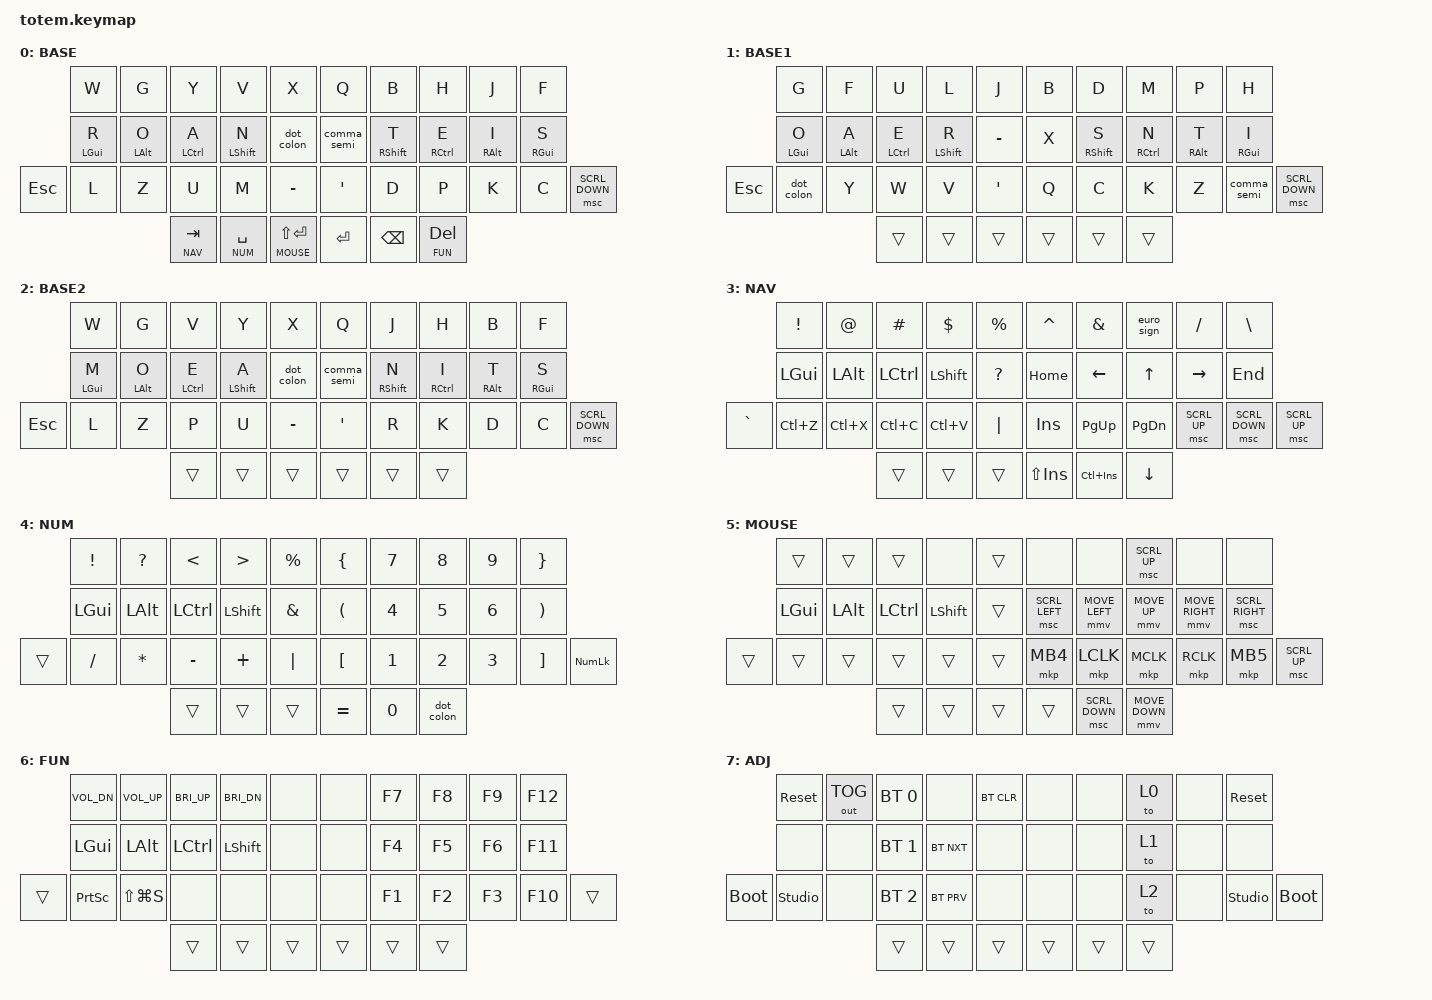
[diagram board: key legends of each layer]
//
//                                                        ▀▀▀▀▀     ▀▀▀▀▀          ▀▀█▀▀
//                                                        ▄▀▀▀▄  ▄  ▄▀▀▀▄  ▄  ▄▀▀▀▄  █  ▄▀▀▀▄
//                                                        █   █  █  █   █  █  █   █  █  █   █
//                                                         ▀▀▀   █   ▀▀▀   █   ▀▀▀   ▀   ▀▀▀
//                                                               █      ▄▄▄█▄▄▄    █   █  
//                                                               ▀      █  █  █     █▄█
//                                                             ▀▀▀▀▀    █  █  █      ▀
//                                                                      ▀  ▀  ▀
//
// ▄▄▄▄▄▄▄▄▄▄▄▄▄▄▄▄▄▄▄▄▄▄▄▄▄▄▄▄▄▄▄▄▄▄▄▄▄▄▄▄▄▄▄▄▄▄▄▄▄▄▄▄▄▄▄▄▄▄▄▄▄▄▄▄▄▄▄▄▄▄▄▄▄▄▄▄▄▄▄▄▄▄▄▄▄▄▄▄▄▄▄▄▄▄▄▄▄▄▄▄▄▄▄▄▄▄▄▄▄▄▄▄▄▄▄▄▄▄▄▄▄▄▄▄▄▄▄▄▄▄▄▄▄▄▄▄▄▄▄▄▄▄▄▄▄▄▄▄▄

#include <behaviors.dtsi>
#include <dt-bindings/zmk/bt.h>
#include <dt-bindings/zmk/keys.h>
#include <dt-bindings/zmk/outputs.h>
//#include <dt-bindings/zmk/mouse.h> // &mkp LCLK a &mkp RCLK
#include <dt-bindings/zmk/pointing.h>

#define BASE  0
#define BASE1 1
#define BASE2 2
#define NAV   3 // + SYMBOLS
#define NUM   4
#define MOUSE 5
#define FUN   6
#define ADJ   7

//&lt {
//    flavor = "balanced";
//    quick-tap-ms = <200>;
//};

&lt {
    flavor = "hold-preferred"; // 🚀 Okamžitá reakcia vrstvy bez čakania
    tapping-term-ms = <200>;   // Ak ho tam nemáš, doplň ho, nech to nie je lenivé
    quick-tap-ms = <175>;      // Jemne ostrejší double-tap repeat
};


//                                    ┏━━━━━━━━━━┓                                                                    ┏━━━━━━━━━━┓
//                         ┏━━━━━━━━━━┫     2    ┣━━━━━━━━━━┳━━━━━━━━━━┓                        ┏━━━━━━━━━━┳━━━━━━━━━━┫     7    ┣━━━━━━━━━━┓
//                         ┃     1    ┣━━━━━━━━━━┫     3    ┃     4    ┃                        ┃     5    ┃     6    ┣━━━━━━━━━━┫     8    ┃
//              ┏━━━━━━━━━━╋━━━━━━━━━━┫    12    ┣━━━━━━━━━━╋━━━━━━━━━━┫                        ┣━━━━━━━━━━╋━━━━━━━━━━┫    17    ┣━━━━━━━━━━╋━━━━━━━━━━┓
//              ┃     0    ┃    11    ┣━━━━━━━━━━┫    13    ┃    14    ┃                        ┃    15    ┃    16    ┣━━━━━━━━━━┫    18    ┃     9    ┃
//              ┣━━━━━━━━━━╋━━━━━━━━━━┫    23    ┣━━━━━━━━━━╋━━━━━━━━━━┫                        ┣━━━━━━━━━━╋━━━━━━━━━━┫    28    ┣━━━━━━━━━━╋━━━━━━━━━━┫
//   ┏━━━━━━━━━━┫    10    ┃    22    ┣━━━━━━━━━━┫    24    ┃    25    ┃                        ┃    26    ┃    27    ┣━━━━━━━━━━┫    29    ┃    19    ┣━━━━━━━━━━┓
//   ┃    20    ┣━━━━━━━━━━╋━━━━━━━━━━┛          ┣━━━━━━━━━━╋━━━━━━━━━━╋━━━━━━━━━━┓  ┏━━━━━━━━━━╋━━━━━━━━━━╋━━━━━━━━━━┫          ┗━━━━━━━━━━╋━━━━━━━━━━┫    31    ┃
//   ┗━━━━━━━━━━┃    21    ┃                     ┃    32    ┃    33    ┃    34    ┃  ┃    35    ┃    36    ┃    37    ┃                     ┃    30    ┣━━━━━━━━━━┛
//              ┗━━━━━━━━━━┛                     ┗━━━━━━━━━━┻━━━━━━━━━━┻━━━━━━━━━━┛  ┗━━━━━━━━━━┻━━━━━━━━━━┛━━━━━━━━━━┛                     ┗━━━━━━━━━━┛

/ {
    combos {
        compatible = "zmk,combos";

        combo_esc {
            bindings = <&kp ESCAPE>;
            key-positions = <0 1>;
            timeout-ms = <60>;
            require-prior-idle-ms = <120>;
        };

        enter_combo {
            bindings = <&kp ENTER>;
            key-positions = <16 17 18 19>;
            timeout-ms = <70>;
            require-prior-idle-ms = <100>;
        };

        shift_enter_combo {
            bindings = <&kp LS(ENTER)>;
            key-positions = <10 11 12 13>;
            timeout-ms = <70>;
            require-prior-idle-ms = <100>;
        };

        // 2, 3 -> Page Up
        combo_pgup {
            timeout-ms = <50>;
            key-positions = <2 3>;
            bindings = <&kp PG_UP>;
//            require-prior-idle-ms = <150>;
        };

        // 6, 7 -> Page Down
        combo_pgdn {
            timeout-ms = <50>;
            key-positions = <6 7>;
            bindings = <&kp PG_DN>;
//            require-prior-idle-ms = <150>;
        };

        // 21, 22 -> Scroll Left
        combo_scrl_left {
            timeout-ms = <50>;
            key-positions = <21 22>;
            bindings = <&msc SCRL_LEFT>;
//            require-prior-idle-ms = <150>;
        };

        // 23, 24 -> Scroll Up
        combo_scrl_up {
            timeout-ms = <50>;
            key-positions = <23 24>;
            bindings = <&msc SCRL_UP>;
//            require-prior-idle-ms = <150>;
        };

        // 27, 28 -> Scroll Down
        combo_scrl_down {
            timeout-ms = <50>;
            key-positions = <27 28>;
            bindings = <&msc SCRL_DOWN>;
//            require-prior-idle-ms = <150>;
        };

        // 29, 30 -> Scroll Right
        combo_scrl_right {
            timeout-ms = <50>;
            key-positions = <29 30>;
            bindings = <&msc SCRL_RIGHT>;
//            require-prior-idle-ms = <150>;
        };
    };

    macros {
        euro_sign: euro_sign {
            compatible = "zmk,behavior-macro";
            #binding-cells = <0>;
            bindings
                = <&macro_press &kp LALT>
                , <&kp KP_N0 &kp KP_N1 &kp KP_N2 &kp KP_N8>
                , <&macro_release &kp LALT>;
        };
    };

    behaviors {
        // , Shift -> ;
        comma_semi: comma_semi {
            compatible = "zmk,behavior-mod-morph";
//            label = "COMMA_SEMI";
            #binding-cells = <0>;
            bindings = <&kp COMMA>, <&kp SEMI>; // Normálne: čiarka, So Shiftom: bodkočiarka
            mods = <(MOD_LSFT|MOD_RSFT)>;       // Sleduj ľavý aj pravý Shift
        };

        // . Shift -> :
        dot_colon: dot_colon {
            compatible = "zmk,behavior-mod-morph";
//            label = "DOT_COLON";
            #binding-cells = <0>;
            bindings = <&kp DOT>, <&kp COLON>;  // Normálne: bodka, So Shiftom: dvojbodka
            mods = <(MOD_LSFT|MOD_RSFT)>;       // Sleduj ľavý aj pravý Shift
        };

//        // Pomocník: podržanie vs klepnutie pre .: ,;
//        p_ht: p_ht {
//            compatible = "zmk,behavior-hold-tap";
//            #binding-cells = <2>; // Presne toto kompilátor vyžaduje (2)
//            flavor = "tap-preferred";
//            tapping-term-ms = <200>;
//            bindings = <&kp>, <&kp>;
//        };
//
//        // . Shift -> : hold -> , hold Shift -> ;
//        dot_colon_comma_semi: dot_colon_comma_semi {
//            compatible = "zmk,behavior-mod-morph";
//            #binding-cells = <0>;
//            bindings = <&p_ht COMMA DOT>, <&p_ht SEMI COLON>;
//            mods = <(MOD_LSFT|MOD_RSFT)>;
//        };

//        // Space hold = Shift+Enter
//        sh_ret_spc: sh_ret_spc {
//            compatible = "zmk,behavior-hold-tap";
//            label = "SHIFT_ENTER_SPACE";
//            #binding-cells = <0>;
//            flavor = "balanced";
//            tapping-term-ms = <200>;
//            bindings = <&kp LS(RET)>, <&kp SPACE>;
//        };

        // ⚡ Pre Ľavý Ctrl a Ľavý Shift
        lcs: lcs {
//            label = "LEFT_CONTROL_SHIFT";
            compatible = "zmk,behavior-hold-tap";
            #binding-cells = <2>;
            flavor = "balanced";
            require-prior-idle-ms = <150>;
            tapping-term-ms = <280>;
            quick-tap-ms = <175>;
            bindings = <&kp>, <&kp>;
            hold-trigger-on-release;
            hold-trigger-key-positions = <5 6 7 8 9 15 16 17 18 19 26 27 28 29 30 31 35 36 37>; // Pravá strana Totemu
//            hold-while-undecided; // Blesková odozva pre myš, otestuj ci je to lepsie s alebo bez
        };

        // 🛡️ Pre Ľavý Alt a Ľavý Win
        law: law {
//            label = "LEFT_ALT_WIN";
            compatible = "zmk,behavior-hold-tap";
            #binding-cells = <2>;
            flavor = "balanced";
            require-prior-idle-ms = <150>;
            tapping-term-ms = <280>;
            quick-tap-ms = <175>;
            bindings = <&kp>, <&kp>;
            hold-trigger-on-release;
            hold-trigger-key-positions = <5 6 7 8 9 15 16 17 18 19 26 27 28 29 30 31 35 36 37>; // Pravá strana Totemu
        };

        // ⚡ Pre Pravý Ctrl a Pravý Shift
        rcs: rcs {
//            label = "RIGHT_CONTROL_SHIFT";
            compatible = "zmk,behavior-hold-tap";
            #binding-cells = <2>;
            flavor = "balanced";
            require-prior-idle-ms = <150>;
            tapping-term-ms = <280>;
            quick-tap-ms = <175>;
            bindings = <&kp>, <&kp>;
            hold-trigger-on-release;
            hold-trigger-key-positions = <0 1 2 3 4 10 11 12 13 14 20 21 22 23 24 25 32 33 34>; // Ľavá strana Totemu
//            hold-while-undecided; // Blesková odozva pre myš
        };

        // 🛡️ Pre Pravý Alt a Pravý Win
        raw: raw {
//            label = "RIGHT_ALT_WIN";
            compatible = "zmk,behavior-hold-tap";
            #binding-cells = <2>;
            flavor = "balanced";
            require-prior-idle-ms = <150>;
            tapping-term-ms = <280>;
            quick-tap-ms = <175>;
            bindings = <&kp>, <&kp>;
            hold-trigger-on-release;
            hold-trigger-key-positions = <0 1 2 3 4 10 11 12 13 14 20 21 22 23 24 25 32 33 34>; // Ľavá strana Totemu
        };

//        alt_tab_rev: alt_tab_rev {
//            compatible = "zmk,behavior-mod-morph";
////            label = "ALT_TAB_REVERSED";
//            #binding-cells = <0>;
//            bindings = <&kp LA(TAB)>, <&kp TAB>; // 1. Čistý stisk = Alt+Tab | 2. Ak už držíš Alt = Iba čistý Tab
//            mods = <(MOD_LALT|MOD_RALT)>;        // Sleduj, či na domovskom riadku nedržíš Alt
//            // ZMK ten stlačený Alt natvrdo vynuluje!
//        };

//        mmv_fast: mmv_fast {
//            compatible = "zmk,behavior-step-mouse-move";
//            #binding-cells = <1>;
//            delay-ms = <0>;           // Žiadne oneskorenie
//            time-to-max-ms = <300>;   // Dosiahni max rýchlosť za tretinu sekundy
//            max-speed = <1500>;       // Extrémna rýchlosť (štandard je oveľa nižší)
//            acceleration-exponent = <1>;
//        };

          // toto sa bije s funkciou mysi, skrolovanie s modifikatormi sa meni na zoom a podobne funkcie
//        scrl_combo: scrl_combo {
//            compatible = "zmk,behavior-mod-morph";
//            #binding-cells = <0>;
//            // Prvá hodnota = čisté stlačenie, Druhá hodnota = stlačenie s AKÝMKOĽVEK modifikátorom
//            bindings = <&msc SCRL_DOWN>, <&msc SCRL_UP>;
//            mods = <(MOD_LSFT|MOD_RSFT|MOD_LALT|MOD_RALT|MOD_LGUI|MOD_RGUI|MOD_LCTL|MOD_RCTL)>;
//        };

    };

    conditional_layers {
        compatible = "zmk,conditional-layers";

        tri_layer_adjust {
            if-layers = <NAV NUM>;  // Ak je aktívna vrstva 1 A ZÁROVEŇ vrstva 2...
            then-layer = <ADJ>;   // ...tak ako bonus zapni vrstvu 4 (ADJ)
        };
    };

    keymap {
        compatible = "zmk,keymap";

        // ▄▄▄▄▄▄▄▄▄▄▄▄▄▄▄▄▄▄▄▄▄▄▄▄▄▄▄▄▄▄▄▄▄▄▄▄▄▄▄▄▄▄▄▄▄▄▄▄▄▄▄▄▄▄▄▄▄▄▄▄▄▄▄▄▄▄▄▄▄▄▄▄▄▄▄▄▄▄▄▄▄▄▄▄▄▄▄▄▄▄▄▄▄▄▄▄▄▄▄▄▄▄▄▄▄▄▄▄▄▄▄▄▄▄▄▄▄▄▄▄▄▄▄▄▄▄▄▄▄▄▄▄▄▄▄▄▄▄▄▄▄▄▄▄▄▄▄▄▄

        base_layer {
// ┏━━━━━━━━━━━━━━━━━━━━━━━━━━━━━━━━━━━━━━━┓
            label = "BASE";
// ┗━━━━━━━━━━━━━━━━━━━━━━━━━━━━━━━━━━━━━━━┛
//            ┏━━━━━━━━━━━┳━━━━━━━━━━━┳━━━━━━━━━━━┳━━━━━━━━━━━┳━━━━━━━━━━━┓                         ┏━━━━━━━━━━━┳━━━━━━━━━━━┳━━━━━━━━━━━┳━━━━━━━━━━━┳━━━━━━━━━━━┓
//            ┃     H     ┃     N     ┃     T     ┃     C     ┃     F     ┃                         ┃     Q     ┃     O     ┃     U     ┃     Y     ┃     V     ┃
//            ┣━━━━━━━━━━━╋━━━━━━━━━━━╋━━━━━━━━━━━╋━━━━━━━━━━━╋━━━━━━━━━━━┫                         ┣━━━━━━━━━━━╋━━━━━━━━━━━╋━━━━━━━━━━━╋━━━━━━━━━━━╋━━━━━━━━━━━┫
//┏━━━━━━━━━━━┫  Win / K  ┃  Alt / R  ┃  Ctrl / D ┃ Shift / B ┃     S     ┃                         ┃     X     ┃ Shift / A ┃ Ctrl / E  ┃  Alt / I  ┃  Win / L  ┣━━━━━━━━━━━┓
//┃    ESC    ┣━━━━━━━━━━━╋━━━━━━━━━━━╋━━━━━━━━━━━╋━━━━━━━━━━━╋━━━━━━━━━━━┫                         ┣━━━━━━━━━━━╋━━━━━━━━━━━╋━━━━━━━━━━━╋━━━━━━━━━━━╋━━━━━━━━━━━┫ SCRL_DOWN ┃
//┗━━━━━━━━━━━┫     P     ┃     J     ┃     M     ┃     Z     ┃     G     ┃                         ┃    ' "    ┃    . :    ┃    - _    ┃    , ;    ┃     W     ┣━━━━━━━━━━━┛
//            ┗━━━━━━━━━━━┻━━━━━━━━━━━┻━━━━━━━━━━━╋━━━━━━━━━━━╋━━━━━━━━━━━╋━━━━━━━━━━━┓ ┏━━━━━━━━━━━╋━━━━━━━━━━━╋━━━━━━━━━━━╋━━━━━━━━━━━┻━━━━━━━━━━━┻━━━━━━━━━━━┛
//                                                ┃ NAV / TAB ┃ NUM / SPC ┃Mou/Shf+RET┃ ┃   ENTER   ┃ BACKSPACE ┃ FUN / DEL ┃
//                                                ┗━━━━━━━━━━━┻━━━━━━━━━━━┻━━━━━━━━━━━┛ ┗━━━━━━━━━━━┻━━━━━━━━━━━┻━━━━━━━━━━━┛
//  , y c v w    g d k z b
//  r o a n '    - t e i s
//  . j u l x    q m p h f

//  W G Y V X    Q B H J F
//  R O A N .    , T E I S
//  L Z U M -    ' D P K C


            bindings = <

           &kp W          &kp G         &kp Y          &kp V         &kp X            &kp Q          &kp B          &kp H          &kp J         &kp F
        &law LGUI R   &law LALT O   &lcs LCTRL A   &lcs LSHIFT N   &dot_colon      &comma_semi   &rcs RSHIFT T   &rcs RCTRL E   &raw RALT I   &raw RGUI S
&kp ESC    &kp L          &kp Z         &kp U          &kp M       &kp MINUS         &kp SQT         &kp D          &kp P          &kp K         &kp C    &msc SCRL_DOWN

//                                        &lt NAV TAB  &lt NUM SPC  &sh_ret_spc  &kp RET  &lt FUN BACKSPACE  &kp DELETE
                                        &lt NAV TAB  &lt NUM SPC  &lt MOUSE LS(RET)  &kp RET  &kp BACKSPACE  &lt FUN DELETE
//                                        &lt NAV TAB  &lt NUM SPC  &p_ht SPACE LS(RET)  &kp RET  &lt FUN BACKSPACE  &kp DELETE
//                                        &lt NAV TAB  &lt NUM SPC  &mt LS(RET) SPACE  &kp RET  &lt FUN BACKSPACE  &kp DELETE
            >;
        };

        // ▄▄▄▄▄▄▄▄▄▄▄▄▄▄▄▄▄▄▄▄▄▄▄▄▄▄▄▄▄▄▄▄▄▄▄▄▄▄▄▄▄▄▄▄▄▄▄▄▄▄▄▄▄▄▄▄▄▄▄▄▄▄▄▄▄▄▄▄▄▄▄▄▄▄▄▄▄▄▄▄▄▄▄▄▄▄▄▄▄▄▄▄▄▄▄▄▄▄▄▄▄▄▄▄▄▄▄▄▄▄▄▄▄▄▄▄▄▄▄▄▄▄▄▄▄▄▄▄▄▄▄▄▄▄▄▄▄▄▄▄▄▄▄▄▄▄▄▄▄

        base1_layer {
// ┏━━━━━━━━━━━━━━━━━━━━━━━━━━━━━━━━━━━━━━━┓
            label = "BASE1";
// ┗━━━━━━━━━━━━━━━━━━━━━━━━━━━━━━━━━━━━━━━┛
//  GFULJ BDMPH
//  OAER- XSNTI
//  .YWV' QCKZ,

            bindings = <

               &kp G         &kp F          &kp U           &kp L       &kp J         &kp B           &kp D          &kp M         &kp P         &kp H
         &law LGUI O   &law LALT A   &lcs LCTRL E   &lcs LSHIFT R   &kp MINUS         &kp X   &rcs RSHIFT S   &rcs RCTRL N   &raw RALT T   &raw RGUI I
&kp ESC   &dot_colon         &kp Y          &kp W           &kp V     &kp SQT         &kp Q           &kp C          &kp K         &kp Z   &comma_semi  &msc SCRL_DOWN

                                                    &trans   &trans   &trans       &trans   &trans   &trans
            >;
        };

        // ▄▄▄▄▄▄▄▄▄▄▄▄▄▄▄▄▄▄▄▄▄▄▄▄▄▄▄▄▄▄▄▄▄▄▄▄▄▄▄▄▄▄▄▄▄▄▄▄▄▄▄▄▄▄▄▄▄▄▄▄▄▄▄▄▄▄▄▄▄▄▄▄▄▄▄▄▄▄▄▄▄▄▄▄▄▄▄▄▄▄▄▄▄▄▄▄▄▄▄▄▄▄▄▄▄▄▄▄▄▄▄▄▄▄▄▄▄▄▄▄▄▄▄▄▄▄▄▄▄▄▄▄▄▄▄▄▄▄▄▄▄▄▄▄▄▄▄▄▄

        base2_layer {
// ┏━━━━━━━━━━━━━━━━━━━━━━━━━━━━━━━━━━━━━━━┓
            label = "BASE2";
// ┗━━━━━━━━━━━━━━━━━━━━━━━━━━━━━━━━━━━━━━━┛
//   WGVYX    QJHBF
//   MOEA.    ,NITS
//   LZPU-    'RKDC

            bindings = <

           &kp W          &kp G         &kp V          &kp Y         &kp X            &kp Q          &kp J          &kp H          &kp B         &kp F
        &law LGUI M   &law LALT O   &lcs LCTRL E   &lcs LSHIFT A   &dot_colon      &comma_semi   &rcs RSHIFT N   &rcs RCTRL I   &raw RALT T   &raw RGUI S
&kp ESC    &kp L          &kp Z         &kp P          &kp U       &kp MINUS         &kp SQT         &kp R          &kp K          &kp D         &kp C    &msc SCRL_DOWN

                                                    &trans   &trans   &trans       &trans   &trans   &trans
            >;
        };

        // ▄▄▄▄▄▄▄▄▄▄▄▄▄▄▄▄▄▄▄▄▄▄▄▄▄▄▄▄▄▄▄▄▄▄▄▄▄▄▄▄▄▄▄▄▄▄▄▄▄▄▄▄▄▄▄▄▄▄▄▄▄▄▄▄▄▄▄▄▄▄▄▄▄▄▄▄▄▄▄▄▄▄▄▄▄▄▄▄▄▄▄▄▄▄▄▄▄▄▄▄▄▄▄▄▄▄▄▄▄▄▄▄▄▄▄▄▄▄▄▄▄▄▄▄▄▄▄▄▄▄▄▄▄▄▄▄▄▄▄▄▄▄▄▄▄▄▄▄▄

        navigation_layer {
// ┏━━━━━━━━━━━━━━━━━━━━━━━━━━━━━━━━━━━━━━━┓
            label = "NAV";
// ┗━━━━━━━━━━━━━━━━━━━━━━━━━━━━━━━━━━━━━━━┛
//            ┏━━━━━━━━━━━┳━━━━━━━━━━━┳━━━━━━━━━━━┳━━━━━━━━━━━┳━━━━━━━━━━━┓                         ┏━━━━━━━━━━━┳━━━━━━━━━━━┳━━━━━━━━━━━┳━━━━━━━━━━━┳━━━━━━━━━━━┓
//            ┃     !     ┃     @     ┃     #     ┃     $     ┃     %     ┃                         ┃     ˆ     ┃     &     ┃     €     ┃     /     ┃     \     ┃
//            ┣━━━━━━━━━━━╋━━━━━━━━━━━╋━━━━━━━━━━━╋━━━━━━━━━━━╋━━━━━━━━━━━┫                         ┣━━━━━━━━━━━╋━━━━━━━━━━━╋━━━━━━━━━━━╋━━━━━━━━━━━╋━━━━━━━━━━━┫
//┏━━━━━━━━━━━┫    Win    ┃    Alt    ┃   Ctrl    ┃   Shift   ┃     ?     ┃                         ┃   HOME    ┃   LEFT    ┃    UP     ┃   RIGHT   ┃    END    ┣━━━━━━━━━━━┓
//┃    ` ~    ┣━━━━━━━━━━━╋━━━━━━━━━━━╋━━━━━━━━━━━╋━━━━━━━━━━━╋━━━━━━━━━━━┫                         ┣━━━━━━━━━━━╋━━━━━━━━━━━╋━━━━━━━━━━━╋━━━━━━━━━━━╋━━━━━━━━━━━┫  SCRL_UP  ┃
//┗━━━━━━━━━━━┫   UNDO    ┃    CUT    ┃   COPY    ┃   PASTE   ┃     |     ┃                         ┃    INS    ┃   PgUp    ┃  PgDown   ┃  SCRL_UP  ┃ SCRL_DOWN ┣━━━━━━━━━━━┛
//            ┗━━━━━━━━━━━┻━━━━━━━━━━━┻━━━━━━━━━━━╋━━━━━━━━━━━╋━━━━━━━━━━━╋━━━━━━━━━━━┓ ┏━━━━━━━━━━━╋━━━━━━━━━━━╋━━━━━━━━━━━╋━━━━━━━━━━━┻━━━━━━━━━━━┻━━━━━━━━━━━┛
//                                                ┃           ┃           ┃           ┃ ┃   PASTE   ┃   COPY    ┃   DOWN    ┃
//                                                ┗━━━━━━━━━━━┻━━━━━━━━━━━┻━━━━━━━━━━━┛ ┗━━━━━━━━━━━┻━━━━━━━━━━━┻━━━━━━━━━━━┛

            bindings = <

              &kp EXCL      &kp AT        &kp HASH      &kp DLLR      &kp PRCNT          &kp CARET   &kp AMPS   &euro_sign   &kp SLASH     &kp BACKSLASH
              &kp LGUI      &kp LALT      &kp LCTRL     &kp LSHIFT    &kp QMARK          &kp HOME    &kp LEFT   &kp UP       &kp RIGHT     &kp END
&kp GRAVE     &kp LC(Z)     &kp LC(X)     &kp LC(C)     &kp LC(V)     &kp PIPE           &kp INSERT  &kp PG_UP  &kp PG_DN    &msc SCRL_UP  &msc SCRL_DOWN  &msc SCRL_UP

                                                        &trans    &trans    &trans    &kp LS(INS)   &kp LC(INS)   &kp DOWN
            >;
        };

        // ▄▄▄▄▄▄▄▄▄▄▄▄▄▄▄▄▄▄▄▄▄▄▄▄▄▄▄▄▄▄▄▄▄▄▄▄▄▄▄▄▄▄▄▄▄▄▄▄▄▄▄▄▄▄▄▄▄▄▄▄▄▄▄▄▄▄▄▄▄▄▄▄▄▄▄▄▄▄▄▄▄▄▄▄▄▄▄▄▄▄▄▄▄▄▄▄▄▄▄▄▄▄▄▄▄▄▄▄▄▄▄▄▄▄▄▄▄▄▄▄▄▄▄▄▄▄▄▄▄▄▄▄▄▄▄▄▄▄▄▄▄▄▄▄▄▄▄▄▄

        numbers_layer {
// ┏━━━━━━━━━━━━━━━━━━━━━━━━━━━━━━━━━━━━━━━┓
            label = "NUM";
// ┗━━━━━━━━━━━━━━━━━━━━━━━━━━━━━━━━━━━━━━━┛
//            ┏━━━━━━━━━━━┳━━━━━━━━━━━┳━━━━━━━━━━━┳━━━━━━━━━━━┳━━━━━━━━━━━┓                         ┏━━━━━━━━━━━┳━━━━━━━━━━━┳━━━━━━━━━━━┳━━━━━━━━━━━┳━━━━━━━━━━━┓
//            ┃     !     ┃     ?     ┃     <     ┃     >     ┃     %     ┃                         ┃     {     ┃     7     ┃     8     ┃     9     ┃     }     ┃
//            ┣━━━━━━━━━━━╋━━━━━━━━━━━╋━━━━━━━━━━━╋━━━━━━━━━━━╋━━━━━━━━━━━┫                         ┣━━━━━━━━━━━╋━━━━━━━━━━━╋━━━━━━━━━━━╋━━━━━━━━━━━╋━━━━━━━━━━━┫
//┏━━━━━━━━━━━┫    Win    ┃    Alt    ┃   Ctrl    ┃   Shift   ┃     &     ┃                         ┃     (     ┃     4     ┃     5     ┃     6     ┃     )     ┣━━━━━━━━━━━┓
//┃           ┣━━━━━━━━━━━╋━━━━━━━━━━━╋━━━━━━━━━━━╋━━━━━━━━━━━╋━━━━━━━━━━━┫                         ┣━━━━━━━━━━━╋━━━━━━━━━━━╋━━━━━━━━━━━╋━━━━━━━━━━━╋━━━━━━━━━━━┫  NUM_PAD  ┃
//┗━━━━━━━━━━━┫     /     ┃     *     ┃     -     ┃     +     ┃     |     ┃                         ┃     [     ┃     1     ┃     2     ┃     3     ┃     ]     ┣━━━━━━━━━━━┛
//            ┗━━━━━━━━━━━┻━━━━━━━━━━━┻━━━━━━━━━━━╋━━━━━━━━━━━╋━━━━━━━━━━━╋━━━━━━━━━━━┓ ┏━━━━━━━━━━━╋━━━━━━━━━━━╋━━━━━━━━━━━╋━━━━━━━━━━━┻━━━━━━━━━━━┻━━━━━━━━━━━┛
//                                                ┃           ┃           ┃           ┃ ┃     =     ┃     0     ┃    . ,    ┃
//                                                ┗━━━━━━━━━━━┻━━━━━━━━━━━┻━━━━━━━━━━━┛ ┗━━━━━━━━━━━┻━━━━━━━━━━━┻━━━━━━━━━━━┛

            bindings = <

              &kp EXCL  &kp QMARK  &kp LT     &kp GT      &kp PRCNT    &kp LBRC   &kp N7  &kp N8  &kp N9  &kp RBRC
              &kp LGUI  &kp LALT   &kp LCTRL  &kp LSHIFT  &kp AMPS     &kp LPAR   &kp N4  &kp N5  &kp N6  &kp RPAR
&trans        &kp SLASH &kp ASTRK  &kp MINUS  &kp PLUS    &kp PIPE     &kp LBKT   &kp N1  &kp N2  &kp N3  &kp RBKT  &kp KP_NUM

                                   &trans     &trans      &trans       &kp EQUAL  &kp N0  &dot_colon
            >;
        };

        // ▄▄▄▄▄▄▄▄▄▄▄▄▄▄▄▄▄▄▄▄▄▄▄▄▄▄▄▄▄▄▄▄▄▄▄▄▄▄▄▄▄▄▄▄▄▄▄▄▄▄▄▄▄▄▄▄▄▄▄▄▄▄▄▄▄▄▄▄▄▄▄▄▄▄▄▄▄▄▄▄▄▄▄▄▄▄▄▄▄▄▄▄▄▄▄▄▄▄▄▄▄▄▄▄▄▄▄▄▄▄▄▄▄▄▄▄▄▄▄▄▄▄▄▄▄▄▄▄▄▄▄▄▄▄▄▄▄▄▄▄▄▄▄▄▄▄▄▄▄

        mouse_layer {
// ┏━━━━━━━━━━━━━━━━━━━━━━━━━━━━━━━━━━━━━━━┓
            label = "MOUSE";
// ┗━━━━━━━━━━━━━━━━━━━━━━━━━━━━━━━━━━━━━━━┛
//            ┏━━━━━━━━━━━┳━━━━━━━━━━━┳━━━━━━━━━━━┳━━━━━━━━━━━┳━━━━━━━━━━━┓                         ┏━━━━━━━━━━━┳━━━━━━━━━━━┳━━━━━━━━━━━┳━━━━━━━━━━━┳━━━━━━━━━━━┓
//            ┃           ┃           ┃           ┃           ┃           ┃                         ┃           ┃           ┃  SCRL_UP  ┃           ┃           ┃
//            ┣━━━━━━━━━━━╋━━━━━━━━━━━╋━━━━━━━━━━━╋━━━━━━━━━━━╋━━━━━━━━━━━┫                         ┣━━━━━━━━━━━╋━━━━━━━━━━━╋━━━━━━━━━━━╋━━━━━━━━━━━╋━━━━━━━━━━━┫
//┏━━━━━━━━━━━┫    Win    ┃    Alt    ┃   Ctrl    ┃   Shift   ┃           ┃                         ┃ SCRL_LEFT ┃ MOVE_LEFT ┃  MOVE_UP  ┃ MOVE_RIGHT┃ SCRL_RIGHT┣━━━━━━━━━━━┓
//┃           ┣━━━━━━━━━━━╋━━━━━━━━━━━╋━━━━━━━━━━━╋━━━━━━━━━━━╋━━━━━━━━━━━┫                         ┣━━━━━━━━━━━╋━━━━━━━━━━━╋━━━━━━━━━━━╋━━━━━━━━━━━╋━━━━━━━━━━━┫  SCRL_UP  ┃
//┗━━━━━━━━━━━┫           ┃           ┃           ┃           ┃           ┃                         ┃   MB4     ┃   LCLK    ┃   MCLK    ┃   RCLK    ┃    MB5    ┣━━━━━━━━━━━┛
//            ┗━━━━━━━━━━━┻━━━━━━━━━━━┻━━━━━━━━━━━╋━━━━━━━━━━━╋━━━━━━━━━━━╋━━━━━━━━━━━┓ ┏━━━━━━━━━━━╋━━━━━━━━━━━╋━━━━━━━━━━━╋━━━━━━━━━━━┻━━━━━━━━━━━┻━━━━━━━━━━━┛
//                                                ┃           ┃           ┃           ┃ ┃           ┃ SCRL_DOWN ┃   DOWN    ┃
//                                                ┗━━━━━━━━━━━┻━━━━━━━━━━━┻━━━━━━━━━━━┛ ┗━━━━━━━━━━━┻━━━━━━━━━━━┻━━━━━━━━━━━┛

            bindings = <

            &trans       &trans      &trans       &none         &trans       &none           &none           &msc SCRL_UP  &none            &none
            &kp LGUI     &kp LALT    &kp LCTRL    &kp LSHIFT    &trans       &msc SCRL_LEFT  &mmv MOVE_LEFT  &mmv MOVE_UP  &mmv MOVE_RIGHT  &msc SCRL_RIGHT
    &trans  &trans       &trans      &trans       &trans        &trans       &mkp MB4        &mkp LCLK       &mkp MCLK     &mkp RCLK        &mkp MB5         &msc SCRL_UP

                                                 &trans   &trans   &trans     &trans    &msc SCRL_DOWN    &mmv MOVE_DOWN
            >;

//            bindings = <
//
//                 &sys_reset     &none  &out OUT_TOG  &none  &bt BT_CLR       &none               &none               &msc SCRL_Y(20)     &none                &none
//                 &studio_unlock &none  &none         &none  &bt BT_NXT       &msc SCRL_X(-20)    &mmv MOVE_X(-1500)  &mmv MOVE_Y(-1500)  &mmv MOVE_X(1500)    &msc SCRL_X(20)
//    &bootloader  &none          &none  &none         &none  &bt BT_PRV       &mkp MB4            &mkp LCLK           &mkp MCLK           &mkp RCLK            &mkp MB5         &bootloader
//
//                                       &trans        &trans &trans           &trans              &msc SCRL_Y(-20)    &mmv MOVE_Y(1500)
//            >;
        };

        // ▄▄▄▄▄▄▄▄▄▄▄▄▄▄▄▄▄▄▄▄▄▄▄▄▄▄▄▄▄▄▄▄▄▄▄▄▄▄▄▄▄▄▄▄▄▄▄▄▄▄▄▄▄▄▄▄▄▄▄▄▄▄▄▄▄▄▄▄▄▄▄▄▄▄▄▄▄▄▄▄▄▄▄▄▄▄▄▄▄▄▄▄▄▄▄▄▄▄▄▄▄▄▄▄▄▄▄▄▄▄▄▄▄▄▄▄▄▄▄▄▄▄▄▄▄▄▄▄▄▄▄▄▄▄▄▄▄▄▄▄▄▄▄▄▄▄▄▄▄

        function_layer {
// ┏━━━━━━━━━━━━━━━━━━━━━━━━━━━━━━━━━━━━━━━┓
            label = "FUN";
// ┗━━━━━━━━━━━━━━━━━━━━━━━━━━━━━━━━━━━━━━━┛
//            ┏━━━━━━━━━━━┳━━━━━━━━━━━┳━━━━━━━━━━━┳━━━━━━━━━━━┳━━━━━━━━━━━┓                         ┏━━━━━━━━━━━┳━━━━━━━━━━━┳━━━━━━━━━━━┳━━━━━━━━━━━┳━━━━━━━━━━━┓
//            ┃   VOL-    ┃   VOL+    ┃  BRIGHT+  ┃  BRIGHT-  ┃           ┃                         ┃           ┃    F7     ┃    F8     ┃    F9     ┃    F12    ┃
//            ┣━━━━━━━━━━━╋━━━━━━━━━━━╋━━━━━━━━━━━╋━━━━━━━━━━━╋━━━━━━━━━━━┫                         ┣━━━━━━━━━━━╋━━━━━━━━━━━╋━━━━━━━━━━━╋━━━━━━━━━━━╋━━━━━━━━━━━┫
//┏━━━━━━━━━━━┫    Win    ┃    Alt    ┃   Ctrl    ┃   Shift   ┃           ┃                         ┃           ┃    F4     ┃    F5     ┃    F6     ┃    F11    ┣━━━━━━━━━━━┓
//┃           ┣━━━━━━━━━━━╋━━━━━━━━━━━╋━━━━━━━━━━━╋━━━━━━━━━━━╋━━━━━━━━━━━┫                         ┣━━━━━━━━━━━╋━━━━━━━━━━━╋━━━━━━━━━━━╋━━━━━━━━━━━╋━━━━━━━━━━━┫           ┃
//┗━━━━━━━━━━━┫PrintScreen┃ Snipping  ┃           ┃           ┃           ┃                         ┃           ┃    F1     ┃    F2     ┃    F3     ┃    F10    ┣━━━━━━━━━━━┛
//            ┗━━━━━━━━━━━┻━━━━━━━━━━━┻━━━━━━━━━━━╋━━━━━━━━━━━╋━━━━━━━━━━━╋━━━━━━━━━━━┓ ┏━━━━━━━━━━━╋━━━━━━━━━━━╋━━━━━━━━━━━╋━━━━━━━━━━━┻━━━━━━━━━━━┻━━━━━━━━━━━┛
//                                                ┃           ┃           ┃           ┃ ┃           ┃           ┃           ┃
//                                                ┗━━━━━━━━━━━┻━━━━━━━━━━━┻━━━━━━━━━━━┛ ┗━━━━━━━━━━━┻━━━━━━━━━━━┻━━━━━━━━━━━┛

            bindings = <

              &kp C_VOL_DN  &kp C_VOL_UP  &kp C_BRI_UP  &kp C_BRI_DN   &none        &none  &kp F7  &kp F8  &kp F9  &kp F12
              &kp LGUI      &kp LALT      &kp LCTRL     &kp LSHIFT     &none        &none  &kp F4  &kp F5  &kp F6  &kp F11
&trans        &kp PSCRN     &kp LS(LG(S)) &none         &none          &none        &none  &kp F1  &kp F2  &kp F3  &kp F10  &trans

                                                 &trans     &trans      &trans    &trans  &trans  &trans
            >;
        };

        // ▄▄▄▄▄▄▄▄▄▄▄▄▄▄▄▄▄▄▄▄▄▄▄▄▄▄▄▄▄▄▄▄▄▄▄▄▄▄▄▄▄▄▄▄▄▄▄▄▄▄▄▄▄▄▄▄▄▄▄▄▄▄▄▄▄▄▄▄▄▄▄▄▄▄▄▄▄▄▄▄▄▄▄▄▄▄▄▄▄▄▄▄▄▄▄▄▄▄▄▄▄▄▄▄▄▄▄▄▄▄▄▄▄▄▄▄▄▄▄▄▄▄▄▄▄▄▄▄▄▄▄▄▄▄▄▄▄▄▄▄▄▄▄▄▄▄▄▄▄

        adjust_layer {
// ┏━━━━━━━━━━━━━━━━━━━━━━━━━━━━━━━━━━━━━━━┓
            label = "ADJ";
// ┗━━━━━━━━━━━━━━━━━━━━━━━━━━━━━━━━━━━━━━━┛
//            ┏━━━━━━━━━━━┳━━━━━━━━━━━┳━━━━━━━━━━━┳━━━━━━━━━━━┳━━━━━━━━━━━┓                         ┏━━━━━━━━━━━┳━━━━━━━━━━━┳━━━━━━━━━━━┳━━━━━━━━━━━┳━━━━━━━━━━━┓
//            ┃   RESET   ┃  OUT TOG  ┃ BT_SEL 0  ┃           ┃ BT CLEAR  ┃                         ┃           ┃           ┃   BASE    ┃           ┃   RESET   ┃
//            ┣━━━━━━━━━━━╋━━━━━━━━━━━╋━━━━━━━━━━━╋━━━━━━━━━━━╋━━━━━━━━━━━┫                         ┣━━━━━━━━━━━╋━━━━━━━━━━━╋━━━━━━━━━━━╋━━━━━━━━━━━╋━━━━━━━━━━━┫
//┏━━━━━━━━━━━┫           ┃           ┃ BT_SEL 1  ┃  BT NEXT  ┃           ┃                         ┃           ┃           ┃   BASE1   ┃           ┃           ┣━━━━━━━━━━━┓
//┃  BOOTLOAD ┣━━━━━━━━━━━╋━━━━━━━━━━━╋━━━━━━━━━━━╋━━━━━━━━━━━╋━━━━━━━━━━━┫                         ┣━━━━━━━━━━━╋━━━━━━━━━━━╋━━━━━━━━━━━╋━━━━━━━━━━━╋━━━━━━━━━━━┫ BOOTLOAD  ┃
//┗━━━━━━━━━━━┫   UNLOCK  ┃           ┃ BT_SEL 2  ┃  BT PREV  ┃           ┃                         ┃           ┃           ┃   BASE2   ┃           ┃  UNLOCK   ┣━━━━━━━━━━━┛
//            ┗━━━━━━━━━━━┻━━━━━━━━━━━┻━━━━━━━━━━━╋━━━━━━━━━━━╋━━━━━━━━━━━╋━━━━━━━━━━━┓ ┏━━━━━━━━━━━╋━━━━━━━━━━━╋━━━━━━━━━━━╋━━━━━━━━━━━┻━━━━━━━━━━━┻━━━━━━━━━━━┛
//                                                ┃           ┃           ┃           ┃ ┃           ┃           ┃           ┃
//                                                ┗━━━━━━━━━━━┻━━━━━━━━━━━┻━━━━━━━━━━━┛ ┗━━━━━━━━━━━┻━━━━━━━━━━━┻━━━━━━━━━━━┛

            bindings = <

               &sys_reset  &out OUT_TOG  &bt BT_SEL 0     &none   &bt BT_CLR                            &none       &none      &to 0     &none     &sys_reset
                 &none        &none      &bt BT_SEL 1  &bt BT_NXT   &none                               &none       &none      &to 1     &none        &none
 &bootloader  &studio_unlock  &none      &bt BT_SEL 2  &bt BT_PRV   &none                               &none       &none      &to 2     &none    &studio_unlock  &bootloader

                                                 &trans   &trans   &trans     &trans    &trans   &trans
            >;
        };

        // ▄▄▄▄▄▄▄▄▄▄▄▄▄▄▄▄▄▄▄▄▄▄▄▄▄▄▄▄▄▄▄▄▄▄▄▄▄▄▄▄▄▄▄▄▄▄▄▄▄▄▄▄▄▄▄▄▄▄▄▄▄▄▄▄▄▄▄▄▄▄▄▄▄▄▄▄▄▄▄▄▄▄▄▄▄▄▄▄▄▄▄▄▄▄▄▄▄▄▄▄▄▄▄▄▄▄▄▄▄▄▄▄▄▄▄▄▄▄▄▄▄▄▄▄▄▄▄▄▄▄▄▄▄▄▄▄▄▄▄▄▄▄▄▄▄▄▄▄▄

    };

};
